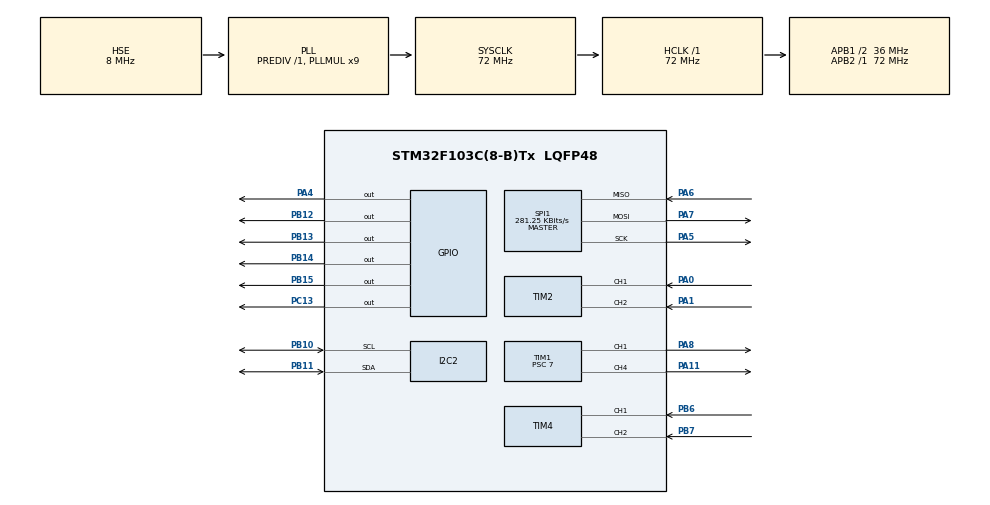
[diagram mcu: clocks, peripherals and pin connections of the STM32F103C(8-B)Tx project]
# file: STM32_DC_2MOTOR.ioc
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Mcu.Family=STM32F1
Mcu.Name=STM32F103C(8-B)Tx
Mcu.Package=LQFP48
NVIC.PriorityGroup=NVIC_PRIORITYGROUP_4
PA0-WKUP.GPIO_PuPd=GPIO_PULLUP
PA0-WKUP.Signal=S_TIM2_CH1_ETR
PA1.GPIO_PuPd=GPIO_PULLUP
PA1.Signal=S_TIM2_CH2
PA11.Signal=S_TIM1_CH4
PA13.Mode=Serial_Wire
PA13.Signal=SYS_JTMS-SWDIO
PA14.Mode=Serial_Wire
PA14.Signal=SYS_JTCK-SWCLK
PA4.GPIO_Speed=GPIO_SPEED_FREQ_LOW
PA4.Signal=GPIO_Output
PA5.Mode=Full_Duplex_Master
PA5.Signal=SPI1_SCK
PA6.Mode=Full_Duplex_Master
PA6.Signal=SPI1_MISO
PA7.Mode=Full_Duplex_Master
PA7.Signal=SPI1_MOSI
PA8.Signal=S_TIM1_CH1
PB10.Mode=I2C
PB10.Signal=I2C2_SCL
PB11.Mode=I2C
PB11.Signal=I2C2_SDA
PB12.GPIO_PuPd=GPIO_NOPULL
PB12.GPIO_Speed=GPIO_SPEED_FREQ_HIGH
PB12.Signal=GPIO_Output
PB13.GPIO_Speed=GPIO_SPEED_FREQ_HIGH
PB13.Signal=GPIO_Output
PB14.GPIO_Speed=GPIO_SPEED_FREQ_HIGH
PB14.Signal=GPIO_Output
PB15.GPIO_Speed=GPIO_SPEED_FREQ_HIGH
PB15.Signal=GPIO_Output
PB6.Signal=S_TIM4_CH1
PB7.Signal=S_TIM4_CH2
PC13-TAMPER-RTC.Signal=GPIO_Output
PD0-OSC_IN.Mode=HSE-External-Oscillator
PD0-OSC_IN.Signal=RCC_OSC_IN
PD1-OSC_OUT.Mode=HSE-External-Oscillator
PD1-OSC_OUT.Signal=RCC_OSC_OUT
ProjectManager.HeapSize=0x200
ProjectManager.StackSize=0x400
ProjectManager.TargetToolchain=STM32CubeIDE
RCC.AHBFreq_Value=72000000
RCC.APB1CLKDivider=RCC_HCLK_DIV2
RCC.APB1Freq_Value=36000000
RCC.APB1TimFreq_Value=72000000
RCC.APB2Freq_Value=72000000
RCC.APB2TimFreq_Value=72000000
RCC.HCLKFreq_Value=72000000
RCC.PLLMUL=RCC_PLL_MUL9
RCC.PLLSourceVirtual=RCC_PLLSOURCE_HSE
RCC.SYSCLKFreq_VALUE=72000000
RCC.SYSCLKSource=RCC_SYSCLKSOURCE_PLLCLK
RCC.USBFreq_Value=72000000
SH.S_TIM1_CH1.0=TIM1_CH1,PWM Generation1 CH1
SH.S_TIM1_CH4.0=TIM1_CH4,PWM Generation4 CH4
SH.S_TIM2_CH1_ETR.0=TIM2_CH1,Encoder_Interface
SH.S_TIM2_CH2.0=TIM2_CH2,Encoder_Interface
SH.S_TIM4_CH1.0=TIM4_CH1,Encoder_Interface
SH.S_TIM4_CH2.0=TIM4_CH2,Encoder_Interface
SPI1.BaudRatePrescaler=SPI_BAUDRATEPRESCALER_256
SPI1.CalculateBaudRate=281.25 KBits/s
SPI1.Direction=SPI_DIRECTION_2LINES
SPI1.Mode=SPI_MODE_MASTER
SPI1.VirtualType=VM_MASTER
TIM1.Channel-PWM\ Generation1\ CH1=TIM_CHANNEL_1
TIM1.Channel-PWM\ Generation4\ CH4=TIM_CHANNEL_4
TIM1.Period=999
TIM1.Prescaler=7
TIM2.EncoderMode=TIM_ENCODERMODE_TI12
TIM2.IC1Filter=10
TIM2.IC2Filter=10
TIM4.EncoderMode=TIM_ENCODERMODE_TI12
TIM4.IC1Filter=10
TIM4.IC2Filter=10
board=custom

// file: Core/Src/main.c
/* USER CODE BEGIN Header */
/**
 ******************************************************************************
 * @file           : main.c
 * @brief          : Main program body
 ******************************************************************************
 * @attention
 *
 * Copyright (c) 2026 STMicroelectronics.
 * All rights reserved.
 *
 * This software is licensed under terms that can be found in the LICENSE file
 * in the root directory of this software component.
 * If no LICENSE file comes with this software, it is provided AS-IS.
 *
 ******************************************************************************
 */
/* USER CODE END Header */
#include "main.h"
#include "gpio.h"
#include "i2c.h"
#include "spi.h"
#include "tim.h"

/* USER CODE BEGIN Includes */
#include "mpu6050.h"
#include <math.h>
#include <stdlib.h>
/* USER CODE END Includes */

/* USER CODE BEGIN PV */
volatile int encoderCount1 =
    0; // Biến lưu số xung đếm được từ Encoder 1 (Động cơ trái)
volatile int encoderCount2 =
    0; // Biến lưu số xung đếm được từ Encoder 2 (Động cơ phải)

volatile int32_t total_encoder1 =
    0; // Biến tích lũy tổng vị trí xung từ Encoder 1
volatile int32_t total_encoder2 =
    0; // Biến tích lũy tổng vị trí xung từ Encoder 2

/* Các biến lưu trạng thái tay cầm PS2 */
uint8_t ps2_lx =
    128; // Giá trị cần Analog trái trục X (Trái: 0, Giữa: 128, Phải: 255)
uint8_t ps2_ly =
    128; // Giá trị cần Analog trái trục Y (Lên: 0, Giữa: 128, Xuống: 255)
uint8_t ps2_rx =
    128; // Giá trị cần Analog phải trục X (Trái: 0, Giữa: 128, Phải: 255)
uint8_t ps2_ry =
    128; // Giá trị cần Analog phải trục Y (Dự phòng / Reserved - Chưa dùng)
uint16_t ps2_buttons = 0xFFFF; // Trạng thái 16 nút bấm (Mỗi bit đại diện 1 nút,
                               // mặc định 1 là nhả, 0 là nhấn)
uint8_t ps2_connected = 0; // Trạng thái kết nối tay cầm (1: Đang kết nối thành
                           // công, 0: Mất kết nối)
uint8_t ps2_rx_raw[9] = {
    0}; // Mảng lưu 9 byte phản hồi thô từ tay cầm để phục vụ debug

/* Biến và tham số PID Heading Hold (Tự động giữ thẳng hướng) */
float Kp_heading = 3.5f;  // Hệ số P vi chỉnh hướng (giảm xuống 3.5 để vi chỉnh
                          // mượt, không dừng bánh)
float Kd_heading = 0.02f; // Hệ số D giảm dao động (đã chia dt)
float target_heading = 0.0f;     // Góc hướng mục tiêu khi đi thẳng
uint8_t heading_hold_active = 0; // Trạng thái kích hoạt Heading Hold

/* Biến Anti-Flip Guard (Chống lật xe khi leo dốc) */
uint8_t is_anti_flip = 0;     // Cờ an toàn chống lật khẩn cấp
uint32_t anti_flip_timer = 0; // Thời gian hãm lùi khi ngóc đầu

/* Biến Smart Turning (Rẽ góc 90 độ chuẩn xác bằng D-Pad Trái/Phải) */
uint8_t smart_turn_active = 0;  // Cờ xoay góc tự động
float smart_turn_target = 0.0f; // Góc xoay mục tiêu
float smart_turn_angle = 108.0f; // Góc xoay cảm biến (tinh chỉnh bù sai số Gyro/xích xe để quay thực tế đúng 90 độ)

/* USER CODE END PV */

void SystemClock_Config(void);
/* USER CODE BEGIN PFP */
void Update_Encoder_Position(void);
/* USER CODE END PFP */

/* USER CODE BEGIN 0 */
void Update_Encoder_Position(void) {
  static uint8_t initialized = 0;
  static uint16_t prev_cnt1 = 0;
  static uint16_t prev_cnt2 = 0;

  uint16_t current_cnt1 = (uint16_t)__HAL_TIM_GET_COUNTER(&htim2);
  uint16_t current_cnt2 = (uint16_t)__HAL_TIM_GET_COUNTER(&htim4);

  // Lần đọc đầu tiên: Khởi tạo giá trị cũ bằng giá trị hiện tại để tránh giật
  // xung giả
  if (!initialized) {
    prev_cnt1 = current_cnt1;
    prev_cnt2 = current_cnt2;
    initialized = 1;
    return;
  }

  // Tính chênh lệch xung từ lần đọc trước (dùng uint16_t ép kiểu sang int16_t
  // để xử lý tràn số chuẩn)
  int16_t diff1 = (int16_t)(current_cnt1 - prev_cnt1);
  int16_t diff2 = (int16_t)(current_cnt2 - prev_cnt2);

  // Đảo chiều đếm cho Encoder 1 (do dây A/B hoặc chiều quay động cơ 1 ngược với
  // quy ước tiến)
  diff1 = -diff1;

  // Cộng dồn vào tổng vị trí
  total_encoder1 += diff1;
  total_encoder2 += diff2;

  // Cập nhật giá trị cũ
  prev_cnt1 = current_cnt1;
  prev_cnt2 = current_cnt2;
}

/* Hàm truyền/nhận 1 byte qua Hardware SPI1 và tạo trễ nhỏ giữa các byte */
uint8_t PS2_SPI_Transfer(uint8_t data) {
  uint8_t rx_data = 0;
  // Sử dụng thư viện HAL để vừa gửi byte `data` đi, vừa nhận byte hồi đáp về
  // `rx_data`
  if (HAL_SPI_TransmitReceive(&hspi1, &data, &rx_data, 1, 100) != HAL_OK) {
    return 0xFF; // Trả về 0xFF nếu truyền nhận SPI thất bại
  }
  // Vòng lặp trễ khoảng 40-50 micro giây để MCU bên trong tay cầm PS2 kịp xử lý
  // byte vừa nhận
  for (volatile uint32_t i = 0; i < 1000; i++)
    ;
  return rx_data;
}

/* Hàm gửi một gói lệnh điều khiển (cmd) và nhận về gói phản hồi (rx) từ tay cầm
 */
void PS2_SendCmd(uint8_t *cmd, uint8_t *rx, uint8_t len) {
  // Kéo chân chọn chip SS (PA4) xuống mức THẤP để bắt đầu phiên truyền nhận dữ
  // liệu
  HAL_GPIO_WritePin(GPIOA, GPIO_PIN_4, GPIO_PIN_RESET);
  for (volatile uint32_t i = 0; i < 200; i++)
    ; // Chờ tín hiệu ổn định

  // Gửi lần lượt từng byte trong gói lệnh và lưu lại byte phản hồi tương ứng
  for (uint8_t i = 0; i < len; i++) {
    rx[i] = PS2_SPI_Transfer(cmd[i]);
  }

  // Kéo chân SS (PA4) lên mức CAO để kết thúc phiên truyền nhận dữ liệu
  HAL_GPIO_WritePin(GPIOA, GPIO_PIN_4, GPIO_PIN_SET);
  for (volatile uint32_t i = 0; i < 500; i++)
    ; // Chờ giải phóng dòng truyền
}

/* Khởi tạo tay cầm PS2: kích hoạt chế độ Analog và khóa cố định chế độ này */
void PS2_Init(void) {
  uint8_t rx[9];

  // Đảm bảo chân CS (PA4) bắt đầu ở mức CAO (chưa chọn chip) trước khi giao
  // tiếp
  HAL_GPIO_WritePin(GPIOA, GPIO_PIN_4, GPIO_PIN_SET);
  HAL_Delay(100); // Chờ tay cầm và đầu thu ổn định nguồn

  // Bước 1: Gửi lệnh yêu cầu tay cầm vào chế độ cấu hình (Config Mode)
  // Lệnh: 0x01 (Bắt đầu), 0x43 (Vào config), 0x00 (Dummy), 0x01 (Bật config),
  // tiếp theo là các byte dummy 0x00
  uint8_t cmd_enter_config[] = {0x01, 0x43, 0x00, 0x01, 0x00,
                                0x00, 0x00, 0x00, 0x00};
  PS2_SendCmd(cmd_enter_config, rx, 9);
  HAL_Delay(20);

  // Bước 2: Cho phép chế độ Analog Mode và MỞ KHÓA (Unlock) nút MODE để người
  // dùng bấm nút MODE chuyển qua lại Digital/Analog tự do Byte 4 = 0x00 (Unlock
  // MODE button)
  uint8_t cmd_set_analog[] = {0x01, 0x44, 0x00, 0x01, 0x00,
                              0x00, 0x00, 0x00, 0x00};
  PS2_SendCmd(cmd_set_analog, rx, 9);
  HAL_Delay(20);

  // Bước 3: Thoát khỏi chế độ cấu hình để tay cầm bắt đầu gửi dữ liệu joystick
  // Lệnh: 0x01 (Bắt đầu), 0x43 (Cấu hình mode), 0x00, 0x00 (Thoát config), tiếp
  // theo gửi 0x5A để xác nhận thoát
  uint8_t cmd_exit_config[] = {0x01, 0x43, 0x00, 0x00, 0x5A,
                               0x5A, 0x5A, 0x5A, 0x5A};
  PS2_SendCmd(cmd_exit_config, rx, 9);
  HAL_Delay(20);
}

/* Đọc dữ liệu thô từ tay cầm PS2 và cập nhật vào các biến trạng thái */
void PS2_Read(void) {
  // Lệnh yêu cầu gửi dữ liệu: 0x01 (Bắt đầu), 0x42 (Yêu cầu data), còn lại
  // dummy
  uint8_t cmd_poll[] = {0x01, 0x42, 0x00, 0x00, 0x00, 0x00, 0x00, 0x00, 0x00};

  PS2_SendCmd(cmd_poll, ps2_rx_raw, 9);

  // Kiểm tra tính hợp lệ của phản hồi từ tay cầm (Xác nhận Mode ID 0x41/0x73/0x79)
  if (ps2_rx_raw[1] == 0x41 || ps2_rx_raw[1] == 0x73 || ps2_rx_raw[1] == 0x79) {
    ps2_connected = 1; // Đánh dấu tay cầm đang kết nối tốt
    ps2_buttons = (ps2_rx_raw[4] << 8) |
                  ps2_rx_raw[3]; // Gộp 2 byte nút bấm thành biến 16-bit

    // Kiểm tra chế độ hoạt động hiện tại (0x73 hoặc 0x79 là Analog Mode)
    if (ps2_rx_raw[1] == 0x73 || ps2_rx_raw[1] == 0x79) {
      ps2_rx = ps2_rx_raw[5]; // Analog phải trục X
      ps2_ry = ps2_rx_raw[6]; // Analog phải trục Y
      ps2_lx = ps2_rx_raw[7]; // Analog trái trục X
      ps2_ly = ps2_rx_raw[8]; // Analog trái trục Y
    } else {                  // Chế độ Digital Mode (ps2_rx_raw[1] == 0x41)
      // Đặt các cần gạt về vị trí trung tâm (128) để nhường quyền cho các nút
      // bấm D-Pad
      ps2_rx = 128;
      ps2_ry = 128;
      ps2_lx = 128;
      ps2_ly = 128;
    }
  } else {
    // Nếu không nhận được mã phản hồi 0x5A -> Tay cầm bị ngắt kết nối hoặc mất
    // nguồn
    ps2_connected = 0;
    smart_turn_active = 0;   // Hủy ngay Smart Turn khi mất kết nối tay cầm
    heading_hold_active = 0; // Hủy ngay Heading Hold khi mất kết nối tay cầm
    // Đưa tất cả cần gạt về trung tâm và nhả toàn bộ nút để xe dừng lại ngay
    // lập tức (Fail-safe)
    ps2_lx = 128;
    ps2_ly = 128;
    ps2_rx = 128;
    ps2_ry = 128;
    ps2_buttons = 0xFFFF;
  }
}
/* USER CODE END 0 */

int main(void) {

  /* MCU Configuration--------------------------------------------------------*/

  /* Reset of all peripherals, Initializes the Flash interface and the Systick.
   */
  HAL_Init();

  /* Configure the system clock */
  SystemClock_Config();

  /* Initialize all configured peripherals */
  MX_GPIO_Init();
  MX_TIM1_Init();
  MX_TIM2_Init();
  MX_I2C2_Init();
  MX_SPI1_Init();
  MX_TIM4_Init();
  /* USER CODE BEGIN 2 */
  HAL_TIM_PWM_Start(&htim1,
                    TIM_CHANNEL_1); // Bật xung PWM ra chân PA8 (ENA) để điều
                                    // khiển tốc độ Động cơ Trái (Motor 1)
  HAL_TIM_PWM_Start(&htim1,
                    TIM_CHANNEL_4); // Bật xung PWM ra chân PA11 (ENB) để điều
                                    // khiển tốc độ Động cơ Phải (Motor 2)
  HAL_TIM_Encoder_Start(&htim2,
                        TIM_CHANNEL_ALL); // Bật bộ đếm Encoder phần cứng trên
                                          // TIM2 (Đọc Encoder Động cơ Trái)
  HAL_TIM_Encoder_Start(&htim4,
                        TIM_CHANNEL_ALL); // Bật bộ đếm Encoder phần cứng trên
                                          // TIM4 (Đọc Encoder Động cơ Phải)

  PS2_Init();           // Khởi tạo tay cầm PS2
  MPU6050_Init(&hi2c2); // Khởi tạo và hiệu chỉnh MPU6050 qua I2C2
  /* USER CODE END 2 */

  /* Infinite loop */
  while (1) {

    /* USER CODE BEGIN 3 */
    PS2_Read(); // Đọc dữ liệu từ tay cầm PS2

    uint8_t is_analog_mode = (ps2_rx_raw[1] == 0x73 || ps2_rx_raw[1] == 0x79);

    // Bảo vệ Fail-Safe 2 tầng: Nếu mất kết nối PS2 hoặc MPU6050, lập tức ngắt toàn bộ chế độ tự động
    if (!ps2_connected || !MPU6050.IsConnected) {
      smart_turn_active = 0;
      heading_hold_active = 0;
    }

    // --- Xử lý dữ liệu cần gạt Analog và áp dụng Vùng Chết (Deadzone) ---
    // Mặc định cần gạt ở giữa sẽ đọc ra khoảng 128. Trừ đi 128 để chuyển đổi về
    // gốc tọa độ 0. Dải giá trị lúc này: từ -128 (hết cỡ về một phía) tới +127
    // (hết cỡ về phía ngược lại)
    int ly_val = (int)ps2_ly - 128; // Trục Y Cần Trái (Tiến/Lùi)
    int rx_val = (int)ps2_rx - 128; // Trục X Cần Phải (Rẽ)

    // Áp dụng Vùng chết (Deadzone) chuẩn +/- 15
    if (ly_val >= -15 && ly_val <= 15)
      ly_val = 0;
    if (rx_val >= -15 && rx_val <= 15)
      rx_val = 0;

    int speed = 0;
    int steer = 0;

    // --- PHÂN CHIA 2 CHẾ ĐỘ HOẠT ĐỘNG RIÊNG BIỆT ---
    if (is_analog_mode) {
      // === CHẾ ĐỘ 1: ANALOG MODE (Đèn Đỏ sáng) ===
      // Cần Trái: Tiến/Lùi, Cần Phải: Trái/Phải, KHÔNG dùng các nút D-Pad để
      // lái trực tiếp
      speed = -ly_val;
      steer = rx_val;
    } else {
      // === CHẾ ĐỘ 2: DIGITAL MODE (Tắt Đèn Đỏ) ===
      // KHÔNG dùng các cần Joystick. CHỈ dùng 4 nút D-Pad để lái!
      if (!(ps2_buttons & 0x0010))
        speed = 128; // Nút LÊN (UP)    -> Tiến full công suất
      if (!(ps2_buttons & 0x0040))
        speed = -128; // Nút XUỐNG (DOWN) -> Lùi full công suất
      if (!(ps2_buttons & 0x0080))
        steer = -128; // Nút TRÁI (LEFT)  -> Rẽ Trái full công suất (999 PWM)
      if (!(ps2_buttons & 0x0020))
        steer = 128; // Nút PHẢI (RIGHT) -> Rẽ Phải full công suất (999 PWM)
    }

    // --- CẬP NHẬT GÓC TỪ MPU6050 VỚI CHU KỲ THỜI GIAN ĐỘNG dt (Dùng
    // HAL_GetTick) ---
    static uint32_t last_tick = 0;
    uint32_t current_tick = HAL_GetTick();
    float dt = (float)(current_tick - last_tick) / 1000.0f;
    if (dt <= 0.0001f)
      dt = 0.025f; // Dự phòng khi vừa khởi động hoặc tràn tick
    else if (dt > 0.1f)
      dt = 0.1f; // Giới hạn max 100ms tránh nhảy góc khi bị nghẽn
    last_tick = current_tick;

    if (MPU6050.IsConnected) {
      MPU6050_UpdateAngle(&hi2c2, &MPU6050, dt);
    } else {
      smart_turn_active = 0;   // Hủy ngay Smart Turn khi MPU6050 mất kết nối
      heading_hold_active = 0; // Hủy ngay Heading Hold khi MPU6050 mất kết nối
    }

    // --- TÍNH NĂNG 2: ANTI-FLIP / PITCH GUARD (Bảo vệ chống lật xe) ---
    if (!is_anti_flip && MPU6050.IsConnected && (MPU6050.Pitch > 35.0f || MPU6050.Pitch < -35.0f)) {
      is_anti_flip = 1;
      anti_flip_timer = HAL_GetTick();
      smart_turn_active = 0;   // Hủy ngay Smart Turn khi ngóc đầu khẩn cấp
      heading_hold_active = 0; // Hủy ngay Heading Hold khi ngóc đầu khẩn cấp
    }

    if (is_anti_flip) {
      heading_hold_active = 0; // Nhả cờ giữ thẳng khi đang hãm lùi khẩn cấp

      // Nếu đã lùi tối thiểu 500ms VÀ góc Pitch đã hạ xuống dưới 30 độ -> Thoát
      // trạng thái khẩn cấp
      if ((HAL_GetTick() - anti_flip_timer >= 500) && (MPU6050.Pitch < 30.0f)) {
        is_anti_flip = 0;
      } else {
        // Vẫn trong trạng thái khẩn cấp: Tiếp tục hãm lùi
        speed = -64;
        steer = 0;
      }
    } else {
      // --- TÍNH NĂNG 3: SMART TURNING (Rẽ 90 độ chuẩn xác bằng D-Pad
      // Trái/Phải) ---
      static uint16_t prev_buttons = 0xFFFF;
      uint8_t btn_left_pressed = (!(ps2_buttons & 0x0080)) &&
                                 (prev_buttons & 0x0080); // Nút D-Pad Left
      uint8_t btn_right_pressed = (!(ps2_buttons & 0x0020)) &&
                                  (prev_buttons & 0x0020); // Nút D-Pad Right
      prev_buttons = ps2_buttons;

      if (is_analog_mode && btn_left_pressed && MPU6050.IsConnected) {
        smart_turn_active = 1;
        smart_turn_target = MPU6050.Yaw + smart_turn_angle; // Đặt mục tiêu quay trái 90 độ thực tế
      } else if (is_analog_mode && btn_right_pressed && MPU6050.IsConnected) {
        smart_turn_active = 1;
        smart_turn_target = MPU6050.Yaw - smart_turn_angle; // Đặt mục tiêu quay phải 90 độ thực tế
      }

      // Ưu tiên lái tay: Chỉ hủy Smart Turn khi người dùng gạt Joystick rõ ràng (vượt deadzone rộng +/-25)
      int ly_drift = (int)ps2_ly - 128;
      int rx_drift = (int)ps2_rx - 128;
      if (ly_drift > 25 || ly_drift < -25 || rx_drift > 25 || rx_drift < -25) {
        smart_turn_active = 0;
      }

      if (smart_turn_active && MPU6050.IsConnected) {
        heading_hold_active = 0; // Nhả cờ giữ thẳng khi đang rẽ 90 độ tự động
        float turn_error = smart_turn_target - MPU6050.Yaw;

        // Chuẩn hóa góc sai số về [-180, 180]
        while (turn_error > 180.0f)
          turn_error -= 360.0f;
        while (turn_error < -180.0f)
          turn_error += 360.0f;

        if (fabs(turn_error) > 3.0f) {
          speed = 0;
          // Tính lực quay có ngưỡng tối thiểu (min 75) để thắng ma sát nghỉ của xích xe tăng
          float error_mag = fabs(turn_error);
          int turn_power = (int)(error_mag * 3.0f);
          if (turn_power < 75)
            turn_power = 75;   // Thắng ma sát nghỉ xích xe (tránh động cơ bị kêu mà không quay)
          if (turn_power > 110)
            turn_power = 110;  // Giới hạn công suất tối đa (~86% PWM)

          if (turn_error > 0.0f) {
            steer = -turn_power; // Quay Trái
          } else {
            steer = turn_power;  // Quay Phải
          }
        } else {
          smart_turn_active = 0; // Đã xoay xong góc 90 độ
          steer = 0;
        }
      }
      // --- TÍNH NĂNG 1: HEADING HOLD (Tự động giữ thẳng hướng khi đi tiến/lùi)
      // ---
      else if (speed != 0 && steer == 0 && MPU6050.IsConnected) {
        static float prev_heading_error = 0.0f;

        if (!heading_hold_active) {
          heading_hold_active = 1;
          target_heading = MPU6050.Yaw; // Ghi nhận ngay góc hướng chuẩn tại
                                        // thời điểm bắt đầu đi thẳng
          prev_heading_error = 0.0f; // Reset sai số vi phân tránh giật đột ngột
        }

        float heading_error = target_heading - MPU6050.Yaw;

        // 1. Chuẩn hóa dải góc về [-180, 180] độ tránh bị tràn góc khi xoay
        // tròn
        while (heading_error > 180.0f)
          heading_error -= 360.0f;
        while (heading_error < -180.0f)
          heading_error += 360.0f;

        // 2. Vùng chết Deadband +/- 1.0 độ: Nếu xe lệch dưới 1 độ thì coi như
        // đã đi thẳng chuẩn, không vi chỉnh
        if (fabs(heading_error) < 1.0f) {
          heading_error = 0.0f;
        }

        // Tính chênh lệch sai số và chuẩn hóa tránh vọt đỉnh spike khi tràn góc
        // qua [-180, 180]
        float error_delta = heading_error - prev_heading_error;
        while (error_delta > 180.0f)
          error_delta -= 360.0f;
        while (error_delta < -180.0f)
          error_delta += 360.0f;

        float heading_derivative = 0.0f;
        if (dt > 0.0001f) {
          heading_derivative = error_delta / dt;
        }
        prev_heading_error = heading_error;

        float correction =
            (Kp_heading * heading_error) + (Kd_heading * heading_derivative);

        // 3. Khống chế lực vi chỉnh tối đa MAX = 40 (trên dải 999 PWM) -> Đảm
        // bảo chỉ nhích nhẹ mượt mà, KHÔNG BAO GIỜ BỊ QUÁ LỐ
        if (correction > 40.0f)
          correction = 40.0f;
        if (correction < -40.0f)
          correction = -40.0f;

        // Đảo dấu (-correction) cho cả Tiến lẫn Lùi để Phản Hồi Âm luôn dập tắt
        // sai số, không bị khóa bánh khi lùi
        steer = (int)(-correction);
      } else {
        smart_turn_active = 0;   // Nhả cờ Smart Turn khi thoát trạng thái tự động
        heading_hold_active = 0; // Nhả cờ Heading Hold khi chủ động bẻ lái hoặc dừng
      }
    }

    // --- Thuật toán pha trộn lái xe tăng (Arcade Drive / Differential Drive)
    // --- Động cơ bên trái: Tiến khi tiến, rẽ phải thì quay tiến nhanh hơn
    int left_motor_speed = speed + steer;
    // Động cơ bên phải: Tiến khi tiến, rẽ phải thì quay lùi hoặc tiến chậm hơn
    int right_motor_speed = speed - steer;

    // Quy đổi tốc độ từ dải điều khiển cần gạt [-128, 127] lên dải duty của PWM
    // [-999, 999]
    int left_pwm = left_motor_speed * 999 / 128;
    int right_pwm = right_motor_speed * 999 / 128;

    // Giới hạn giá trị PWM đầu ra không vượt quá chu kỳ tối đa của timer (ARR =
    // 999)
    if (left_pwm > 999)
      left_pwm = 999;
    if (left_pwm < -999)
      left_pwm = -999;
    if (right_pwm > 999)
      right_pwm = 999;
    if (right_pwm < -999)
      right_pwm = -999;

    // --- Thực thi điều khiển Động cơ 1 (Bên Trái) ---
    if (left_pwm > 0) {                                    // Động cơ quay THUẬN
      HAL_GPIO_WritePin(GPIOB, GPIO_PIN_12, GPIO_PIN_SET); // IN1 = 1
      HAL_GPIO_WritePin(GPIOB, GPIO_PIN_13, GPIO_PIN_RESET); // IN2 = 0
      __HAL_TIM_SET_COMPARE(&htim1, TIM_CHANNEL_1,
                            left_pwm); // Cấp xung tốc độ tương ứng
    } else if (left_pwm < 0) {         // Động cơ quay NGHỊCH (Lùi)
      HAL_GPIO_WritePin(GPIOB, GPIO_PIN_12, GPIO_PIN_RESET); // IN1 = 0
      HAL_GPIO_WritePin(GPIOB, GPIO_PIN_13, GPIO_PIN_SET);   // IN2 = 1
      __HAL_TIM_SET_COMPARE(&htim1, TIM_CHANNEL_1,
                            -left_pwm); // Truyền trị tuyệt đối của xung
    } else {                            // DỪNG động cơ (thả trôi)
      HAL_GPIO_WritePin(GPIOB, GPIO_PIN_12, GPIO_PIN_RESET); // IN1 = 0
      HAL_GPIO_WritePin(GPIOB, GPIO_PIN_13, GPIO_PIN_RESET); // IN2 = 0
      __HAL_TIM_SET_COMPARE(&htim1, TIM_CHANNEL_1, 0);       // Duty = 0%
    }

    // --- Thực thi điều khiển Động cơ 2 (Bên Phải) ---
    if (right_pwm > 0) {                                   // Động cơ quay THUẬN
      HAL_GPIO_WritePin(GPIOB, GPIO_PIN_14, GPIO_PIN_SET); // IN3 = 1
      HAL_GPIO_WritePin(GPIOB, GPIO_PIN_15, GPIO_PIN_RESET); // IN4 = 0
      __HAL_TIM_SET_COMPARE(&htim1, TIM_CHANNEL_4,
                            right_pwm); // Cấp xung tốc độ tương ứng
    } else if (right_pwm < 0) {         // Động cơ quay NGHỊCH (Lùi)
      HAL_GPIO_WritePin(GPIOB, GPIO_PIN_14, GPIO_PIN_RESET); // IN3 = 0
      HAL_GPIO_WritePin(GPIOB, GPIO_PIN_15, GPIO_PIN_SET);   // IN4 = 1
      __HAL_TIM_SET_COMPARE(&htim1, TIM_CHANNEL_4,
                            -right_pwm); // Truyền trị tuyệt đối của xung
    } else {                             // DỪNG động cơ (thả trôi)
      HAL_GPIO_WritePin(GPIOB, GPIO_PIN_14, GPIO_PIN_RESET); // IN3 = 0
      HAL_GPIO_WritePin(GPIOB, GPIO_PIN_15, GPIO_PIN_RESET); // IN4 = 0
      __HAL_TIM_SET_COMPARE(&htim1, TIM_CHANNEL_4, 0);       // Duty = 0%
    }

    // Đọc phản hồi số vòng quay (xung Encoder) phục vụ cho thuật toán điều
    // khiển PID nếu cần sau này
    encoderCount1 = -(int16_t)__HAL_TIM_GET_COUNTER(
        &htim2); // Đảo dấu đồng bộ với total_encoder1
    encoderCount2 = (int16_t)__HAL_TIM_GET_COUNTER(&htim4);
    Update_Encoder_Position(); // Cập nhật tổng vị trí tích lũy encoder

    HAL_Delay(25); // Tạo chu kỳ quét dữ liệu đều đặn mỗi ~25 mili giây (tần số
                   // quét ~40Hz)
  }
  /* USER CODE END 3 */
}

void SystemClock_Config(void) {
  RCC_OscInitTypeDef RCC_OscInitStruct = {0};
  RCC_ClkInitTypeDef RCC_ClkInitStruct = {0};

  /** Initializes the RCC Oscillators according to the specified parameters
   * in the RCC_OscInitTypeDef structure.
   */
  RCC_OscInitStruct.OscillatorType = RCC_OSCILLATORTYPE_HSE;
  RCC_OscInitStruct.HSEState = RCC_HSE_ON;
  RCC_OscInitStruct.HSEPredivValue = RCC_HSE_PREDIV_DIV1;
  RCC_OscInitStruct.HSIState = RCC_HSI_ON;
  RCC_OscInitStruct.PLL.PLLState = RCC_PLL_ON;
  RCC_OscInitStruct.PLL.PLLSource = RCC_PLLSOURCE_HSE;
  RCC_OscInitStruct.PLL.PLLMUL = RCC_PLL_MUL9;
  if (HAL_RCC_OscConfig(&RCC_OscInitStruct) != HAL_OK) {
    Error_Handler();
  }

  /** Initializes the CPU, AHB and APB buses clocks
   */
  RCC_ClkInitStruct.ClockType = RCC_CLOCKTYPE_HCLK | RCC_CLOCKTYPE_SYSCLK |
                                RCC_CLOCKTYPE_PCLK1 | RCC_CLOCKTYPE_PCLK2;
  RCC_ClkInitStruct.SYSCLKSource = RCC_SYSCLKSOURCE_PLLCLK;
  RCC_ClkInitStruct.AHBCLKDivider = RCC_SYSCLK_DIV1;
  RCC_ClkInitStruct.APB1CLKDivider = RCC_HCLK_DIV2;
  RCC_ClkInitStruct.APB2CLKDivider = RCC_HCLK_DIV1;

  if (HAL_RCC_ClockConfig(&RCC_ClkInitStruct, FLASH_LATENCY_2) != HAL_OK) {
    Error_Handler();
  }
}

void Error_Handler(void) {
  __disable_irq();
  while (1) {
  }
}
#ifdef USE_FULL_ASSERT
/**
 * @brief  Reports the name of the source file and the source line number
 *         where the assert_param error has occurred.
 * @param  file: pointer to the source file name
 * @param  line: assert_param error line source number
 * @retval None
 */
void assert_failed(uint8_t *file, uint32_t line) {
  /* USER CODE BEGIN 6 */
  /* User can add his own implementation to report the file name and line
     number, ex: printf("Wrong parameters value: file %s on line %d\r\n", file,
     line) */
  /* USER CODE END 6 */
}
#endif /* USE_FULL_ASSERT */
